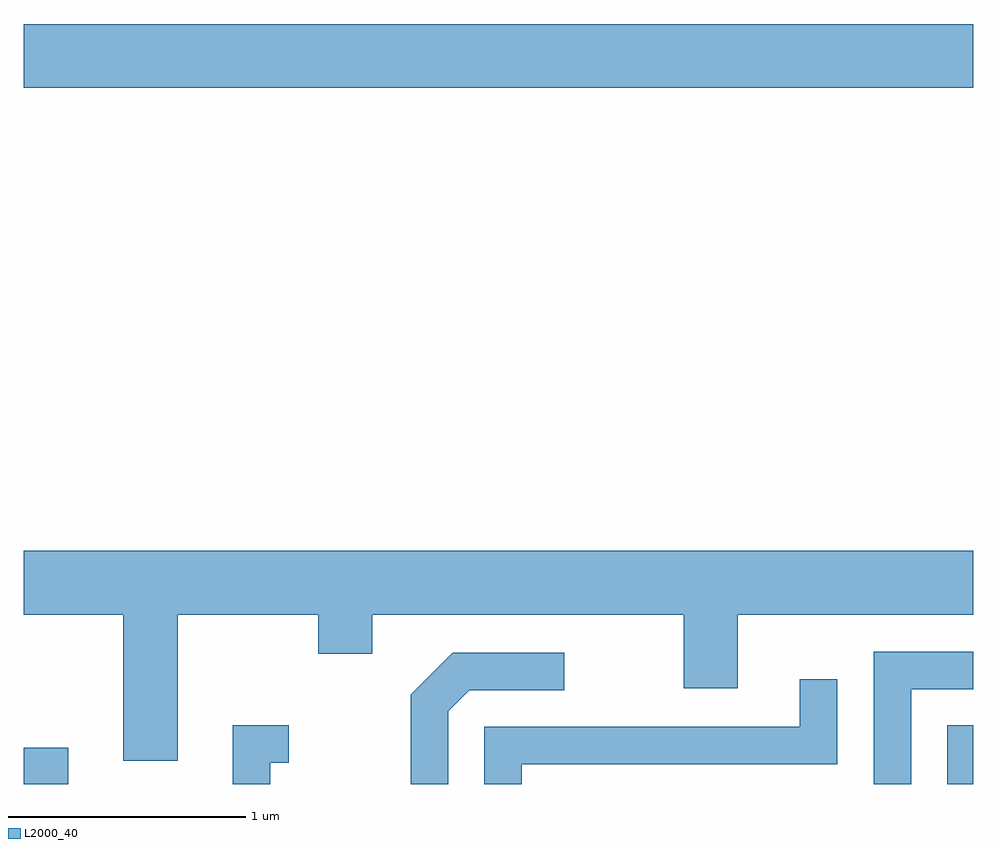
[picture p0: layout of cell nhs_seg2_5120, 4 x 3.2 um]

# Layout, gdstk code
import gdstk
lib = gdstk.Library(unit=1e-6, precision=1e-09)
def R(c, l, rs):  # rectangles x0, y0, x1, y1
    for r in rs: c.add(gdstk.rectangle(r[:2], r[2:], *l))
def P(c, l, *ps):  # polygons
    for p in ps: c.add(gdstk.Polygon(p, *l))
L2000_40 = (2000, 40)

nhs_seg2_5120 = lib.new_cell('nhs_seg2_5120')
R(nhs_seg2_5120, L2000_40, [(335.611,1069.802,335.799,1069.954), (339.501,1069.802,339.611,1070.049), (335.611,1072.736,339.611,1073.004)])
P(nhs_seg2_5120, L2000_40, [(336.259,1070.516),(336.851,1070.516),(336.851,1070.351),(337.079,1070.351),(337.079,1070.516),(338.391,1070.516),(338.391,1070.206),(338.619,1070.206),(338.619,1070.516),(339.611,1070.516),(339.611,1070.784),(335.611,1070.784),(335.611,1070.516),(336.031,1070.516),(336.031,1069.901),(336.259,1069.901)],
  [(339.349,1070.201),(339.611,1070.201),(339.611,1070.359),(339.191,1070.359),(339.191,1069.802),(339.349,1069.802)],
  [(337.399,1070.109),(337.487,1070.196),(337.888,1070.196),(337.888,1070.354),(337.419,1070.354),(337.241,1070.177),(337.241,1069.802),(337.399,1069.802)],
  [(337.709,1069.886),(339.039,1069.886),(339.039,1070.243),(338.881,1070.243),(338.881,1070.044),(337.551,1070.044),(337.551,1069.802),(337.709,1069.802)],
  [(336.649,1069.891),(336.728,1069.891),(336.728,1070.049),(336.491,1070.049),(336.491,1069.802),(336.649,1069.802)])

lib.write_gds('nhs_seg2_5120.gds')
